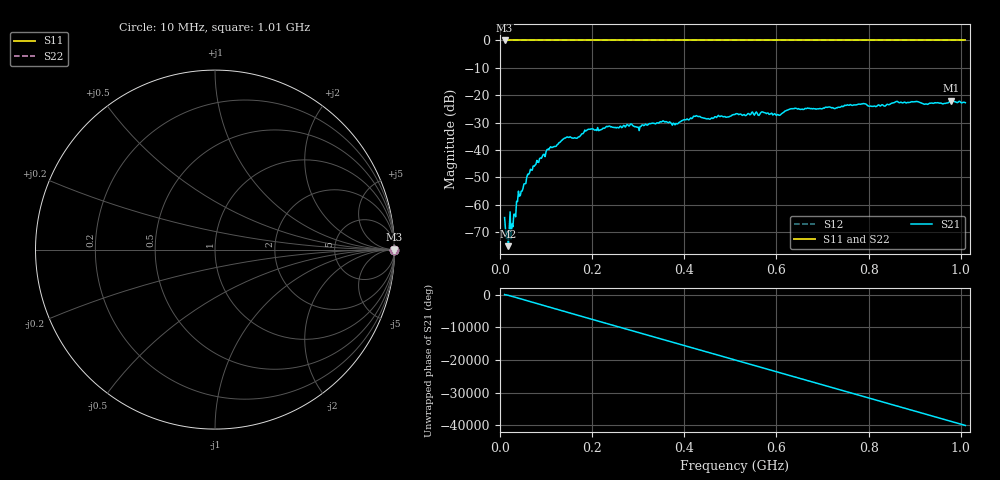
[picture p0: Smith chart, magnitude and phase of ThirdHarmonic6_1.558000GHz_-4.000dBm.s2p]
! 8/16/2025 6:30:08 PM
! C:\ANRITSUVNA\TEMP\TEMP.S2P
! CHANNEL.1
! TR.MEASUREMENT
! RAW.DATA
! RF.CORRECTION.OFF
! AVERAGING.OFF
! IF.BANDWIDTH: 5KHZ
! SWEEPTYPE:  FREQ.SWEEP(Linear)
! Reference Plane Port Info
! PORT:  PORT1  PORT2
! DISTANCE:  0  m  0  m
! TIME:  0  s  0  s
! PHASE.OFFSET:  0  deg.  0  deg.
! LOSS:  0  dB  0  dB
! REF.LOSS:  0  dB  0  dB
! REF.FREQ:  0  Hz  0  Hz
! Power Info
! POWER:  -20  dBm  -20  dBm
! EFF.POWER:  -20  dBm  -20  dBm
! SOURCE.ATTEN:  0  dB  0  dB
! TEST.ATTEN:  0  dB  0  dB
# GHZ S RI R 50.0
! FREQ.GHZ  S11RE  S11IM  S21RE  S21IM  S12RE  S12IM  S22RE  S22IM
!; PortSelection: Port_12
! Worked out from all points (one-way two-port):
!   501 points, 10 MHz to 1.01 GHz, reference 50 ohm
!   highest |S21| = -22.05 dB at 978 MHz (marker M1); lowest = -75.2 dB at 18 MHz (marker M2)
!   lowest |S11| = 0.0 dB at 10 MHz (marker M3)
!   |S11| at or under -10 dB: nowhere
!   |S22| runs from 0.0 to 0.0 dB; largest |S21 - S12| = 1.1
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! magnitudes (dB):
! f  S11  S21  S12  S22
! 10 MHz  0.0  -64.7  0.0  0.0
! 16 MHz  0.0  -69.8  0.0  0.0
! 18 MHz  0.0  -75.2  0.0  0.0
! 28 MHz  0.0  -68.1  0.0  0.0
! 40 MHz  0.0  -55.1  0.0  0.0
! 62 MHz  0.0  -49.0  0.0  0.0
! 76 MHz  0.0  -45.6  0.0  0.0
! 106 MHz  0.0  -39.9  0.0  0.0
! 140 MHz  0.0  -35.7  0.0  0.0
! 178 MHz  0.0  -34.1  0.0  0.0
! 234 MHz  0.0  -31.5  0.0  0.0
! 300 MHz  0.0  -31.7  0.0  0.0
! 344 MHz  0.0  -30.2  0.0  0.0
! 382 MHz  0.0  -30.3  0.0  0.0
! 424 MHz  0.0  -27.7  0.0  0.0
! 510 MHz  0.0  -27.0  0.0  0.0
! 604 MHz  0.0  -27.2  0.0  0.0
! 632 MHz  0.0  -24.9  0.0  0.0
! 678 MHz  0.0  -25.0  0.0  0.0
! 844 MHz  0.0  -23.5  0.0  0.0
! 978 MHz  0.0  -22.0  0.0  0.0
! 1.01 GHz  0.0  -22.7  0.0  0.0
